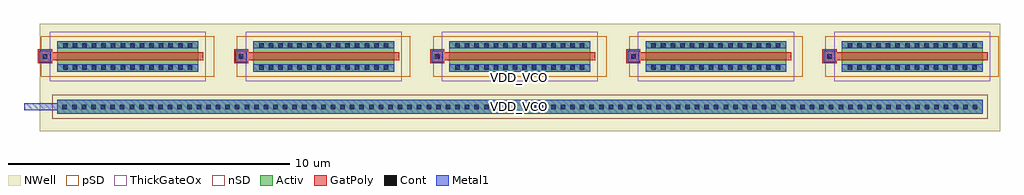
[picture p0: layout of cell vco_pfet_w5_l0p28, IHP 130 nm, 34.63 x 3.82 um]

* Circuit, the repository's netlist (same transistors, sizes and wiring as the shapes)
* extracted by klt extract --deck sg13cmos5l

* cell vco_pfet_w5_l0p28
* pin VDD_VCO
.SUBCKT vco_pfet_w5_l0p28 VDD_VCO
* device instance $1 r0 *1 3.8,3 pfet
X$1 \$12 \$2 \$3 VDD_VCO sg13_hv_pmos L=0.28U W=5U AS=2P AD=2P PS=10.8U PD=10.8U
* device instance $2 r0 *1 10.76,3 pfet
X$2 \$13 \$4 \$5 VDD_VCO sg13_hv_pmos L=0.28U W=5U AS=2P AD=2P PS=10.8U PD=10.8U
* device instance $3 r0 *1 17.72,3 pfet
X$3 \$14 \$6 \$7 VDD_VCO sg13_hv_pmos L=0.28U W=5U AS=2P AD=2P PS=10.8U PD=10.8U
* device instance $4 r0 *1 24.68,3 pfet
X$4 \$15 \$8 \$9 VDD_VCO sg13_hv_pmos L=0.28U W=5U AS=2P AD=2P PS=10.8U PD=10.8U
* device instance $5 r0 *1 31.64,3 pfet
X$5 \$16 \$10 \$11 VDD_VCO sg13_hv_pmos L=0.28U W=5U AS=2P AD=2P PS=10.8U
+ PD=10.8U
.ENDS vco_pfet_w5_l0p28

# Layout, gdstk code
import gdstk
lib = gdstk.Library(unit=1e-6, precision=1e-09)
def R(c, l, rs):  # rectangles x0, y0, x1, y1
    for r in rs: c.add(gdstk.rectangle(r[:2], r[2:], *l))
def A(c, l, x, y, w, h, nx, ny, dx, dy):  # array of equal rectangles
    R(c, l, [(x+i*dx, y+j*dy, x+i*dx+w, y+j*dy+h) for i in range(nx) for j in range(ny)])
Activ = (1, 0)
GatPoly = (5, 0)
Cont = (6, 0)
nSD = (7, 0)
Metal1 = (8, 0)
pSD = (14, 0)
NWell = (31, 0)
ThickGateOx = (44, 0)

vco_pfet_w5_l0p28 = lib.new_cell('vco_pfet_w5_l0p28')
A(vco_pfet_w5_l0p28, Activ, 1.3, 2.46, 5, 1.08, 5, 1, 6.96, 0)
R(vco_pfet_w5_l0p28, Activ, [(1.3,0.96,34.14,1.46)])
A(vco_pfet_w5_l0p28, GatPoly, 0.62, 2.75, 0.5, 0.5, 5, 1, 6.96, 0)
A(vco_pfet_w5_l0p28, GatPoly, 1.12, 2.86, 5.36, 0.28, 5, 1, 6.96, 0)
A(vco_pfet_w5_l0p28, Cont, 1.49, 1.13, 0.16, 0.16, 96, 1, 0.34, 0)
A(vco_pfet_w5_l0p28, Cont, 1.51, 2.53, 0.16, 0.16, 14, 2, 0.34, 0.78)
A(vco_pfet_w5_l0p28, Cont, 8.47, 2.53, 0.16, 0.16, 14, 2, 0.34, 0.78)
A(vco_pfet_w5_l0p28, Cont, 15.43, 2.53, 0.16, 0.16, 14, 2, 0.34, 0.78)
A(vco_pfet_w5_l0p28, Cont, 22.39, 2.53, 0.16, 0.16, 14, 2, 0.34, 0.78)
A(vco_pfet_w5_l0p28, Cont, 29.35, 2.53, 0.16, 0.16, 14, 2, 0.34, 0.78)
A(vco_pfet_w5_l0p28, Cont, 0.79, 2.92, 0.16, 0.16, 5, 1, 6.96, 0)
R(vco_pfet_w5_l0p28, nSD, [(1.12,0.78,34.32,1.64)])
A(vco_pfet_w5_l0p28, Metal1, 1.3, 2.46, 5, 0.26, 5, 2, 6.96, 0.82)
A(vco_pfet_w5_l0p28, Metal1, 0.67, 2.8, 0.4, 0.4, 5, 1, 6.96, 0)
R(vco_pfet_w5_l0p28, Metal1, [(1.3,0.96,34.14,1.46), (0.125,1.085,1.3,1.335)])
A(vco_pfet_w5_l0p28, pSD, 0.72, 2.28, 6.16, 1.44, 5, 1, 6.96, 0)
R(vco_pfet_w5_l0p28, NWell, [(0.68,0.34,34.76,4.16)])
A(vco_pfet_w5_l0p28, ThickGateOx, 1.03, 2.12, 5.54, 1.76, 5, 1, 6.96, 0)
vco_pfet_w5_l0p28.add(gdstk.Label('VDD_VCO', (17.72,1.21), layer=8, texttype=2))
vco_pfet_w5_l0p28.add(gdstk.Label('VDD_VCO', (17.72,2.25), layer=31, texttype=2))

lib.write_gds('vco_pfet_w5_l0p28.gds')
